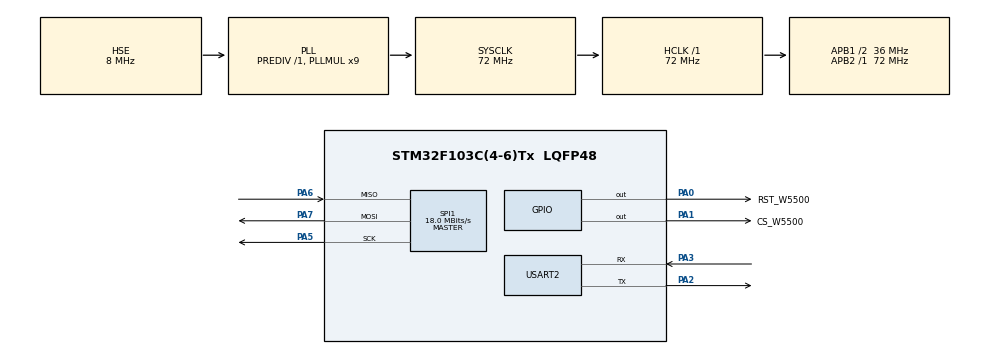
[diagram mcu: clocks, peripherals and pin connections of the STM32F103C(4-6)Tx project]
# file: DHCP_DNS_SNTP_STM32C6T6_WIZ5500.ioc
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Mcu.Family=STM32F1
Mcu.Name=STM32F103C(4-6)Tx
Mcu.Package=LQFP48
NVIC.PriorityGroup=NVIC_PRIORITYGROUP_4
PA0-WKUP.GPIO_Label=RST_W5500
PA0-WKUP.Signal=GPIO_Output
PA1.GPIO_Label=CS_W5500
PA1.Signal=GPIO_Output
PA13.Mode=Serial_Wire
PA13.Signal=SYS_JTMS-SWDIO
PA14.Mode=Serial_Wire
PA14.Signal=SYS_JTCK-SWCLK
PA2.Mode=Asynchronous
PA2.Signal=USART2_TX
PA3.Mode=Asynchronous
PA3.Signal=USART2_RX
PA5.Mode=Full_Duplex_Master
PA5.Signal=SPI1_SCK
PA6.Mode=Full_Duplex_Master
PA6.Signal=SPI1_MISO
PA7.Mode=Full_Duplex_Master
PA7.Signal=SPI1_MOSI
PD0-OSC_IN.Mode=HSE-External-Oscillator
PD0-OSC_IN.Signal=RCC_OSC_IN
PD1-OSC_OUT.Mode=HSE-External-Oscillator
PD1-OSC_OUT.Signal=RCC_OSC_OUT
ProjectManager.HeapSize=0x200
ProjectManager.StackSize=0x400
ProjectManager.TargetToolchain=STM32CubeIDE
RCC.AHBFreq_Value=72000000
RCC.APB1CLKDivider=RCC_HCLK_DIV2
RCC.APB1Freq_Value=36000000
RCC.APB1TimFreq_Value=72000000
RCC.APB2Freq_Value=72000000
RCC.APB2TimFreq_Value=72000000
RCC.HCLKFreq_Value=72000000
RCC.PLLMUL=RCC_PLL_MUL9
RCC.PLLSourceVirtual=RCC_PLLSOURCE_HSE
RCC.RTCClockSelection=RCC_RTCCLKSOURCE_HSE_DIV128
RCC.SYSCLKFreq_VALUE=72000000
RCC.SYSCLKSource=RCC_SYSCLKSOURCE_PLLCLK
RCC.USBFreq_Value=72000000
SPI1.BaudRatePrescaler=SPI_BAUDRATEPRESCALER_4
SPI1.CalculateBaudRate=18.0 MBits/s
SPI1.Direction=SPI_DIRECTION_2LINES
SPI1.Mode=SPI_MODE_MASTER
SPI1.VirtualType=VM_MASTER
USART2.VirtualMode=VM_ASYNC
board=custom

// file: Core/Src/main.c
/* USER CODE BEGIN Header */
/**
  ******************************************************************************
  * @file           : main.c
  * @brief          : Main program body
  ******************************************************************************
  * @attention
  *
  * Copyright (c) 2024 STMicroelectronics.
  * All rights reserved.
  *
  * This software is licensed under terms that can be found in the LICENSE file
  * in the root directory of this software component.
  * If no LICENSE file comes with this software, it is provided AS-IS.
  *
  ******************************************************************************
  */
/* USER CODE END Header */
#include "main.h"

/* USER CODE BEGIN Includes */
#include "socket.h"
#include "wizchip_conf.h"
#include "W5500_Spi.h"
#include <stdio.h>
#include "dns.h"
#include "dhcp.h"
#include "sntp.h"
/* USER CODE END Includes */

/* USER CODE BEGIN PTD */
#define _MAIN_DEBUG_
//////////////////////////////////////////////////
// Socket & Port number definition for Examples //
//////////////////////////////////////////////////
#define SOCK_DHCP       6
#define SOCK_DNS        5
#define SOCK_SNTP		4

////////////////////////////////////////////////
// Shared Buffer Definition for Loopback test //
////////////////////////////////////////////////

uint8_t gDHCPBUF[RIP_MSG_SIZE];
uint8_t gDNSBUF[MAX_DNS_BUF_SIZE];
uint8_t gSNTPBUF[MAX_SNTP_BUF_SIZE];
const uint8_t SNTP_TIMEZONE = 34;  // (34) UTC+05:30 - India (look at sntp.c)
datetime time;
///////////////////////////
// Network Configuration //
///////////////////////////
wiz_NetInfo gWIZNETINFO = {
		.mac = { 0x80, 0x34, 0x28, 0x74, 0xA5, 0xCB },//MSB - LSB
		.ip ={ 192, 168, 1, 112 },
		.sn = { 255, 255, 255, 0 },
		.gw ={ 192, 168, 1, 1 },
		.dns = { 0, 0, 0, 0 },
		.dhcp = NETINFO_DHCP };
////////////////
// DHCP client//
////////////////
#define MY_MAX_DHCP_RETRY			2
uint8_t my_dhcp_retry = 0;
/*****************************************************************************
 * Private functions
 ****************************************************************************/
static void Net_Conf();
static void Display_Net_Conf();
// Callback function : User defined DHCP functions
void my_ip_assign(void);
void my_ip_conflict(void);
/* USER CODE END PTD */

SPI_HandleTypeDef hspi1;

UART_HandleTypeDef huart2;

void SystemClock_Config(void);
static void MX_GPIO_Init(void);
static void MX_SPI1_Init(void);
static void MX_USART2_UART_Init(void);

/* USER CODE BEGIN 0 */
void UWriteData(const char data)
{
	while(__HAL_UART_GET_FLAG(&huart2,UART_FLAG_TXE)==RESET);

	huart2.Instance->DR=data;

}

int __io_putchar(int ch)
{
	UWriteData(ch);
	return ch;
}

void PHYStatusCheck(void)
{
	uint8_t tmp;

	do
	{
		printf("\r\nChecking Ethernet Cable Presence ...");
		ctlwizchip(CW_GET_PHYLINK, (void*) &tmp);

		if(tmp == PHY_LINK_OFF)
		{
			printf("NO Cable Connected!");
			HAL_Delay(1500);
		}
	}while(tmp == PHY_LINK_OFF);

	printf("Good! Cable got connected!");

}

void PrintPHYConf(void)
{
	wiz_PhyConf phyconf;

	ctlwizchip(CW_GET_PHYCONF, (void*) &phyconf);

	if(phyconf.by==PHY_CONFBY_HW)
	{
		printf("\n\rPHY Configured by Hardware Pins");
	}
	else
	{
		printf("\n\rPHY Configured by Registers");
	}

	if(phyconf.mode==PHY_MODE_AUTONEGO)
	{
		printf("\n\rAutonegotiation Enabled");
	}
	else
	{
		printf("\n\rAutonegotiation NOT Enabled");
	}

	if(phyconf.duplex==PHY_DUPLEX_FULL)
	{
		printf("\n\rDuplex Mode: Full");
	}
	else
	{
		printf("\n\rDuplex Mode: Half");
	}

	if(phyconf.speed==PHY_SPEED_10)
	{
		printf("\n\rSpeed: 10Mbps");
	}
	else
	{
		printf("\n\rSpeed: 100Mbps");
	}
}
/* USER CODE END 0 */

int main(void)
{
  /* USER CODE BEGIN 1 */
	setbuf(stdout, NULL);
  /* USER CODE END 1 */

  /* MCU Configuration--------------------------------------------------------*/

  /* Reset of all peripherals, Initializes the Flash interface and the Systick. */
  HAL_Init();

  /* USER CODE BEGIN Init */
  uint8_t run_user_applications = 0;
  uint8_t Domain_name0[] = "1.pool.ntp.org";
  uint8_t Domain_name1[] = "0.pool.ntp.org";
  uint8_t Domain_IP[4];  // Translated IP address by DNS Server
  //uint8_t DNS_2nd[4]    = {208, 67, 222, 222};      	// Secondary DNS server IP
  uint8_t DNS_2nd_IP[4]    = {8, 8, 8, 8};      	// Secondary DNS server IP
  uint8_t exit_dhcp_loop = 0;
  int8_t DNSret;
  // uint32_t ret;
  /* USER CODE END Init */

  /* Configure the system clock */
  SystemClock_Config();

  /* Initialize all configured peripherals */
  MX_GPIO_Init();
  MX_SPI1_Init();
  MX_USART2_UART_Init();
  /* USER CODE BEGIN 2 */
  /* DHCP client Initialization */
  printf("DHCP + DNS + SNTP W5500 Application!\r\n");
  W5500Init();

  ctlnetwork(CN_SET_NETINFO, (void*) &gWIZNETINFO);
  PHYStatusCheck();
    PrintPHYConf();

  	if(gWIZNETINFO.dhcp == NETINFO_DHCP)
  	{
  		DHCP_init(SOCK_DHCP, gDHCPBUF);
  		// if you want different action instead default ip assign, update, conflict.
  		// if cbfunc == 0, act as default.
  		reg_dhcp_cbfunc(my_ip_assign, my_ip_assign, my_ip_conflict);

  		run_user_applications = 0; 	// flag for running user's code
  	}
  	else
  	{
  		// Static
  #ifdef _MAIN_DEBUG_
  		Display_Net_Conf();
  #endif
  		run_user_applications = 1; 	// flag for running user's code
  	}

   /* USER CODE END 2 */

  /* Infinite loop */
  while (1)
  {

    /* USER CODE BEGIN 3 */
	  if(gWIZNETINFO.dhcp == NETINFO_DHCP && exit_dhcp_loop != 1)
	    	  	{
	    				switch(DHCP_run())
	    				{
	    					case DHCP_IP_ASSIGN:
	    					case DHCP_IP_CHANGED:
	    						/* If this block empty, act with default_ip_assign & default_ip_update */
	    						//
	    						// This example calls my_ip_assign in the two case.
	    						//
	    						// Add to ...
	    						//
	    						break;
	    					case DHCP_IP_LEASED:
	    						//
	    						// TODO: insert user's code here
	    						run_user_applications = 1;

	    						DNS_init(SOCK_DNS, gDNSBUF);   // DNS client Initialization

	    						  		  	if ((DNSret = DNS_run(gWIZNETINFO.dns, Domain_name0, Domain_IP))==1)  //Trying 1st DNS server
	    						  		  		{
	    						  		  			printf("\n\r> DNS1 for %s return= %d", Domain_name0, DNSret);
	    						  		  			printf("\n\r> Translated %s to [%d.%d.%d.%d]\r\n\r\n",Domain_name0,Domain_IP[0],Domain_IP[1],Domain_IP[2],Domain_IP[3]);
	    						  		  		}
	    						  		  		else if ((DNSret = DNS_run(DNS_2nd_IP, Domain_name0, Domain_IP))==1) //Trying 2st DNS server
	    						  		  		{
	    						  		  			printf("\n\r> 1st DNS Failed, trying DNS2");
	    						  		  			printf("\n\r> DNS2 for %s return= %d", Domain_name1, DNSret);
	    						  		  			printf("\n\r> Translated %s to [%d.%d.%d.%d]\r\n\r\n",Domain_name1,Domain_IP[0],Domain_IP[1],Domain_IP[2],Domain_IP[3]);
	    						  		  		}
	    						  		  		else {printf("\n\r> Error resolving %s - DNS Failed !!\n\r\n\r", Domain_name0);}  //Query to both servers failed

	    						  		  		if(DNSret > 0)  // sntp server ip resolved, so init SNTP client
	    						  		  			{
	    						  		  			printf("\n\r> Initializing SNTP from %s", Domain_name0);
	    						  		  			SNTP_init(SOCK_SNTP, Domain_IP, SNTP_TIMEZONE, gSNTPBUF);
	    						  		  			}
	    						  		  		else {printf("\n\r> SNTP Error!! could not resolve %s", Domain_name0);}

	    						  		  	exit_dhcp_loop = 1;
	    						break;
	    					case DHCP_FAILED:
	    						/* ===== Example pseudo code =====  */
	    						// The below code can be replaced your code or omitted.
	    						// if omitted, retry to process DHCP
	    						my_dhcp_retry++;
	    						if(my_dhcp_retry > MY_MAX_DHCP_RETRY)
	    						{
	    							gWIZNETINFO.dhcp = NETINFO_STATIC;
	    							DHCP_stop();      // if restart, recall DHCP_init()

	    	#ifdef _MAIN_DEBUG_
	    							printf(">> DHCP %d Failed\r\n", my_dhcp_retry);
	    							Net_Conf();
	    							Display_Net_Conf();   // print out static netinfo to serial
	    	#endif
	    							my_dhcp_retry = 0;
	    						}
	    						break;
	    					default:
	    						break;
	    				}
	    	  	}

	if(run_user_applications){
		while( SNTP_run(&time) !=1){}
	    printf("\n\r> %02d/%02d/%d, %02d:%02d:%02d", time.dd,  time.mo, time.yy, time.hh, time.mm, time.ss);
	    HAL_Delay(1000);
	}

  }

  /* USER CODE END 3 */
}

void SystemClock_Config(void)
{
  RCC_OscInitTypeDef RCC_OscInitStruct = {0};
  RCC_ClkInitTypeDef RCC_ClkInitStruct = {0};

  /** Initializes the RCC Oscillators according to the specified parameters
  * in the RCC_OscInitTypeDef structure.
  */
  RCC_OscInitStruct.OscillatorType = RCC_OSCILLATORTYPE_HSE;
  RCC_OscInitStruct.HSEState = RCC_HSE_ON;
  RCC_OscInitStruct.HSEPredivValue = RCC_HSE_PREDIV_DIV1;
  RCC_OscInitStruct.HSIState = RCC_HSI_ON;
  RCC_OscInitStruct.PLL.PLLState = RCC_PLL_ON;
  RCC_OscInitStruct.PLL.PLLSource = RCC_PLLSOURCE_HSE;
  RCC_OscInitStruct.PLL.PLLMUL = RCC_PLL_MUL9;
  if (HAL_RCC_OscConfig(&RCC_OscInitStruct) != HAL_OK)
  {
    Error_Handler();
  }

  /** Initializes the CPU, AHB and APB buses clocks
  */
  RCC_ClkInitStruct.ClockType = RCC_CLOCKTYPE_HCLK|RCC_CLOCKTYPE_SYSCLK
                              |RCC_CLOCKTYPE_PCLK1|RCC_CLOCKTYPE_PCLK2;
  RCC_ClkInitStruct.SYSCLKSource = RCC_SYSCLKSOURCE_PLLCLK;
  RCC_ClkInitStruct.AHBCLKDivider = RCC_SYSCLK_DIV1;
  RCC_ClkInitStruct.APB1CLKDivider = RCC_HCLK_DIV2;
  RCC_ClkInitStruct.APB2CLKDivider = RCC_HCLK_DIV1;

  if (HAL_RCC_ClockConfig(&RCC_ClkInitStruct, FLASH_LATENCY_2) != HAL_OK)
  {
    Error_Handler();
  }
}

static void MX_SPI1_Init(void)
{

  /* SPI1 parameter configuration*/
  hspi1.Instance = SPI1;
  hspi1.Init.Mode = SPI_MODE_MASTER;
  hspi1.Init.Direction = SPI_DIRECTION_2LINES;
  hspi1.Init.DataSize = SPI_DATASIZE_8BIT;
  hspi1.Init.CLKPolarity = SPI_POLARITY_LOW;
  hspi1.Init.CLKPhase = SPI_PHASE_1EDGE;
  hspi1.Init.NSS = SPI_NSS_SOFT;
  hspi1.Init.BaudRatePrescaler = SPI_BAUDRATEPRESCALER_4;
  hspi1.Init.FirstBit = SPI_FIRSTBIT_MSB;
  hspi1.Init.TIMode = SPI_TIMODE_DISABLE;
  hspi1.Init.CRCCalculation = SPI_CRCCALCULATION_DISABLE;
  hspi1.Init.CRCPolynomial = 10;
  if (HAL_SPI_Init(&hspi1) != HAL_OK)
  {
    Error_Handler();
  }
  /* USER CODE BEGIN SPI1_Init 2 */
  __HAL_SPI_ENABLE(&hspi1);
  /* USER CODE END SPI1_Init 2 */

}

static void MX_USART2_UART_Init(void)
{

  huart2.Instance = USART2;
  huart2.Init.BaudRate = 115200;
  huart2.Init.WordLength = UART_WORDLENGTH_8B;
  huart2.Init.StopBits = UART_STOPBITS_1;
  huart2.Init.Parity = UART_PARITY_NONE;
  huart2.Init.Mode = UART_MODE_TX_RX;
  huart2.Init.HwFlowCtl = UART_HWCONTROL_NONE;
  huart2.Init.OverSampling = UART_OVERSAMPLING_16;
  if (HAL_UART_Init(&huart2) != HAL_OK)
  {
    Error_Handler();
  }

}

static void MX_GPIO_Init(void)
{
  GPIO_InitTypeDef GPIO_InitStruct = {0};

  /* GPIO Ports Clock Enable */
  __HAL_RCC_GPIOD_CLK_ENABLE();
  __HAL_RCC_GPIOA_CLK_ENABLE();

  /*Configure GPIO pin Output Level */
  HAL_GPIO_WritePin(GPIOA, RST_W5500_Pin|CS_W5500_Pin, GPIO_PIN_RESET);

  /*Configure GPIO pins : RST_W5500_Pin CS_W5500_Pin */
  GPIO_InitStruct.Pin = RST_W5500_Pin|CS_W5500_Pin;
  GPIO_InitStruct.Mode = GPIO_MODE_OUTPUT_PP;
  GPIO_InitStruct.Pull = GPIO_NOPULL;
  GPIO_InitStruct.Speed = GPIO_SPEED_FREQ_LOW;
  HAL_GPIO_Init(GPIOA, &GPIO_InitStruct);

}

/* USER CODE BEGIN 4 */
static void Display_Net_Conf()
{
#ifdef _MAIN_DEBUG_
	uint8_t tmpstr[6] = {0,};
#endif

	ctlnetwork(CN_GET_NETINFO, (void*) &gWIZNETINFO);

#ifdef _MAIN_DEBUG_
	// Display Network Information
	ctlwizchip(CW_GET_ID,(void*)tmpstr);

	if(gWIZNETINFO.dhcp == NETINFO_DHCP) printf("\r\n===== %s NET CONF : DHCP =====\r\n",(char*)tmpstr);
		else printf("\r\n===== %s NET CONF : Static =====\r\n",(char*)tmpstr);
	printf(" MAC : %02X:%02X:%02X:%02X:%02X:%02X\r\n", gWIZNETINFO.mac[0], gWIZNETINFO.mac[1], gWIZNETINFO.mac[2], gWIZNETINFO.mac[3], gWIZNETINFO.mac[4], gWIZNETINFO.mac[5]);
	printf(" IP : %d.%d.%d.%d\r\n", gWIZNETINFO.ip[0], gWIZNETINFO.ip[1], gWIZNETINFO.ip[2], gWIZNETINFO.ip[3]);
	printf(" GW : %d.%d.%d.%d\r\n", gWIZNETINFO.gw[0], gWIZNETINFO.gw[1], gWIZNETINFO.gw[2], gWIZNETINFO.gw[3]);
	printf(" SN : %d.%d.%d.%d\r\n", gWIZNETINFO.sn[0], gWIZNETINFO.sn[1], gWIZNETINFO.sn[2], gWIZNETINFO.sn[3]);
	printf(" DNS IP : %d.%d.%d.%d\r\n", gWIZNETINFO.dns[0], gWIZNETINFO.dns[1], gWIZNETINFO.dns[2], gWIZNETINFO.dns[3]);
	printf("=======================================\r\n");
#endif
}

/*******************************************************
 * @ brief Call back for ip assing & ip update from DHCP
 *******************************************************/
void my_ip_assign(void)
{
   getIPfromDHCP(gWIZNETINFO.ip);
   getGWfromDHCP(gWIZNETINFO.gw);
   getSNfromDHCP(gWIZNETINFO.sn);
   getDNSfromDHCP(gWIZNETINFO.dns);
   gWIZNETINFO.dhcp = NETINFO_DHCP;
   /* Network initialization */
   Net_Conf();      // apply from DHCP
#ifdef _MAIN_DEBUG_
   Display_Net_Conf();
   printf("DHCP LEASED TIME : %ld Sec.\r\n", getDHCPLeasetime());
   printf("\r\n");
#endif
}

/************************************
 * @ brief Call back for ip Conflict
 ************************************/
void my_ip_conflict(void)
{
#ifdef _MAIN_DEBUG_
	printf("CONFLICT IP from DHCP\r\n");
#endif
   //halt or reset or any...
   while(1); // this example is halt.
}

static void Net_Conf()
{
	/* wizchip netconf */
	ctlnetwork(CN_SET_NETINFO, (void*) &gWIZNETINFO);
}

/* USER CODE END 4 */

void Error_Handler(void)
{
  __disable_irq();
  while (1)
  {
  }
}
